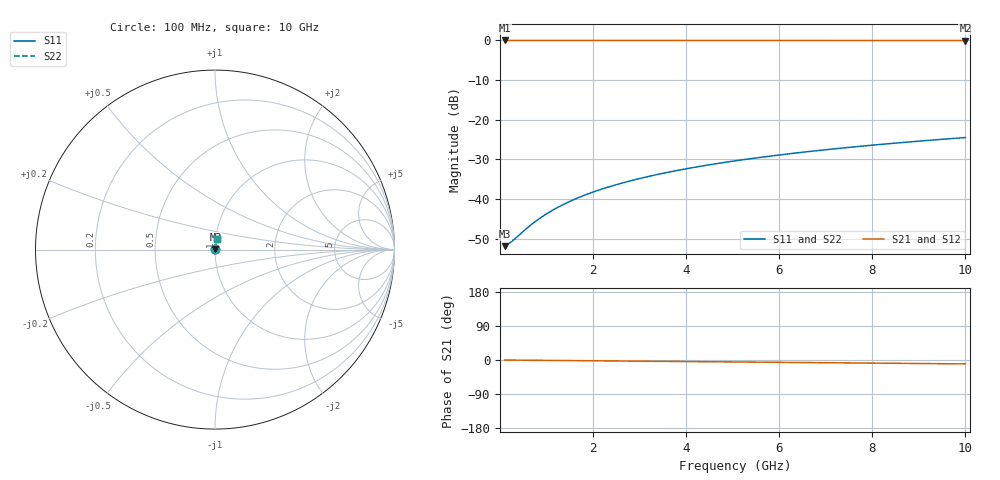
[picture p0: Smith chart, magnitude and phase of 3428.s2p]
# Hz S RI R 50.00
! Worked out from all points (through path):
!   100 points, 100 MHz to 10 GHz, reference 50 ohm
!   highest |S21| = -0.02 dB at 100 MHz (marker M1); lowest = 0.0 dB at 10 GHz (marker M2)
!   group delay of S21, straight-line fit = 2.85 ps
!   lowest |S11| = -51.9 dB at 100 MHz (marker M3), VSWR 1.01, Z = 50.2 + j0.0596 ohm
!   |S11| at or under -10 dB: start of sweep to end of sweep
!   |S22| runs from -51.9 to -24.5 dB; largest |S21 - S12| = 0
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1e8  0.00247 0.000593  0.9975 -0.00178  0.9975 -0.00178  0.00247 0.000593
2e8  0.00249 0.00119  0.9975 -0.00357  0.9975 -0.00357  0.00249 0.00119
3e8  0.00251 0.00178  0.9975 -0.00535  0.9975 -0.00535  0.00251 0.00178
5e8  0.00254 0.00297  0.9974 -0.00892  0.9974 -0.00892  0.00254 0.00297
7e8  0.00258 0.00415  0.9974 -0.0125  0.9974 -0.0125  0.00258 0.00415
8e8  0.0026 0.00475  0.9973 -0.0143  0.9973 -0.0143  0.0026 0.00475
1e9  0.00265 0.00593  0.9973 -0.0178  0.9973 -0.0178  0.00265 0.00593
1.2e9  0.00271 0.00712  0.9972 -0.0214  0.9972 -0.0214  0.00271 0.00712
1.4e9  0.00277 0.0083  0.9971 -0.025  0.9971 -0.025  0.00277 0.0083
1.6e9  0.00284 0.00949  0.997 -0.0285  0.997 -0.0285  0.00284 0.00949
1.8e9  0.00292 0.0107  0.9968 -0.0321  0.9968 -0.0321  0.00292 0.0107
2.1e9  0.00305 0.0124  0.9966 -0.0374  0.9966 -0.0374  0.00305 0.0124
2.5e9  0.00326 0.0148  0.9963 -0.0446  0.9963 -0.0446  0.00326 0.0148
2.9e9  0.0035 0.0172  0.9959 -0.0517  0.9959 -0.0517  0.0035 0.0172
3.4e9  0.00384 0.0201  0.9953 -0.0606  0.9953 -0.0606  0.00384 0.0201
4.2e9  0.00451 0.0248  0.9942 -0.0748  0.9942 -0.0748  0.00451 0.0248
5.1e9  0.00541 0.0301  0.9927 -0.0908  0.9927 -0.0908  0.00541 0.0301
5.9e9  0.00635 0.0347  0.9911 -0.105  0.9911 -0.105  0.00635 0.0347
6.7e9  0.00743 0.0393  0.9893 -0.1192  0.9893 -0.1192  0.00743 0.0393
7.5e9  0.00864 0.0439  0.9873 -0.1333  0.9873 -0.1333  0.00864 0.0439
8.4e9  0.0102 0.049  0.9847 -0.1492  0.9847 -0.1492  0.0102 0.049
1e10  0.0133 0.058  0.9795 -0.1773  0.9795 -0.1773  0.0133 0.058
